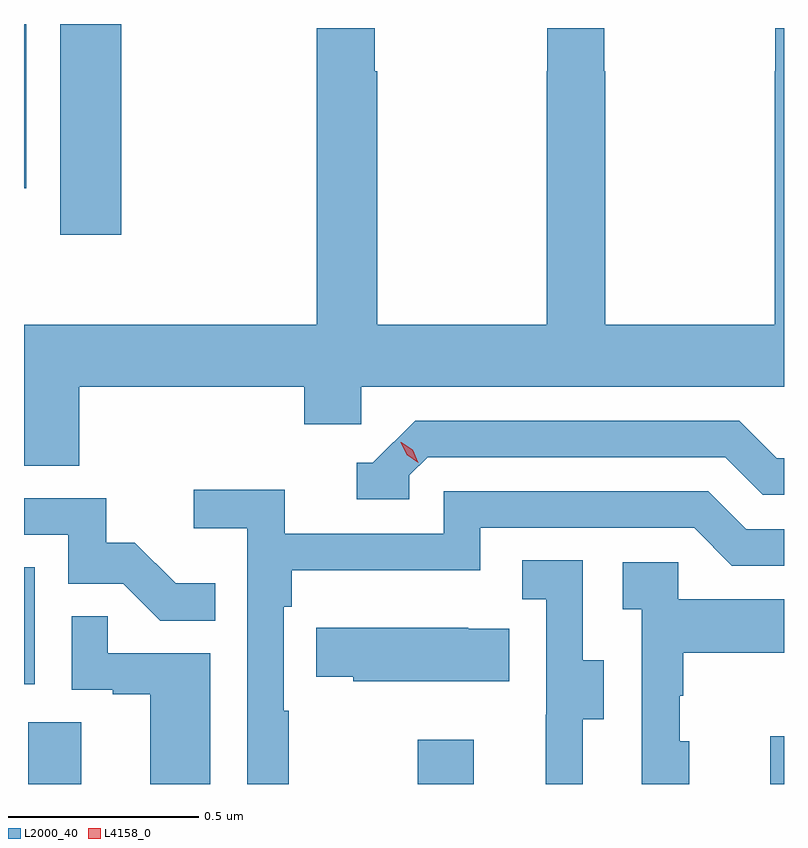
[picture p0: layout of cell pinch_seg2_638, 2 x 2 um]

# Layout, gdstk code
import gdstk
lib = gdstk.Library(unit=1e-6, precision=1e-09)
def R(c, l, rs):  # rectangles x0, y0, x1, y1
    for r in rs: c.add(gdstk.rectangle(r[:2], r[2:], *l))
def P(c, l, *ps):  # polygons
    for p in ps: c.add(gdstk.Polygon(p, *l))
L2000_40 = (2000, 40)
L4158_0 = (4158, 0)

pinch_seg2_638 = lib.new_cell('pinch_seg2_638')
R(pinch_seg2_638, L2000_40, [(1018.613,609.295,1018.753,609.458), (1019.638,609.295,1019.785,609.412), (1020.566,609.295,1020.602,609.421), (1018.602,609.558,1018.63,609.865), (1018.697,610.74,1018.858,611.295), (1018.602,610.863,1018.608,611.295)])
P(pinch_seg2_638, L2000_40, [(1018.748,610.34),(1019.339,610.34),(1019.339,610.242),(1019.49,610.242),(1019.49,610.34),(1020.602,610.34),(1020.602,611.284),(1020.579,611.284),(1020.579,611.171),(1020.577,611.171),(1020.577,610.504),(1020.132,610.504),(1020.132,611.171),(1020.129,611.171),(1020.129,611.284),(1019.979,611.284),(1019.979,611.171),(1019.977,611.171),(1019.977,610.504),(1019.532,610.504),(1019.532,611.171),(1019.525,611.171),(1019.525,611.284),(1019.372,611.284),(1019.372,610.504),(1018.602,610.504),(1018.602,610.132),(1018.748,610.132)],
  [(1019.616,610.107),(1019.664,610.155),(1020.447,610.155),(1020.546,610.056),(1020.602,610.056),(1020.602,610.152),(1020.583,610.152),(1020.484,610.251),(1019.631,610.251),(1019.52,610.14),(1019.477,610.14),(1019.477,610.044),(1019.616,610.044)],
  [(1019.299,609.488),(1019.286,609.488),(1019.286,609.761),(1019.306,609.761),(1019.306,609.857),(1019.802,609.857),(1019.802,609.969),(1020.366,609.969),(1020.465,609.87),(1020.602,609.87),(1020.602,609.966),(1020.502,609.966),(1020.403,610.065),(1019.706,610.065),(1019.706,609.954),(1019.288,609.954),(1019.288,610.07),(1019.049,610.07),(1019.049,609.968),(1019.19,609.968),(1019.19,609.295),(1019.299,609.295)],
  [(1019.105,609.823),(1019.001,609.823),(1018.894,609.93),(1018.818,609.93),(1018.818,610.047),(1018.602,610.047),(1018.602,609.951),(1018.719,609.951),(1018.719,609.822),(1018.863,609.822),(1018.961,609.724),(1019.105,609.724)],
  [(1020.073,609.466),(1020.127,609.466),(1020.127,609.621),(1020.072,609.621),(1020.072,609.884),(1019.913,609.884),(1019.913,609.781),(1019.976,609.781),(1019.976,609.477),(1019.975,609.477),(1019.975,609.295),(1020.073,609.295)],
  [(1020.352,609.408),(1020.327,609.408),(1020.327,609.527),(1020.337,609.527),(1020.337,609.641),(1020.602,609.641),(1020.602,609.781),(1020.324,609.781),(1020.324,609.879),(1020.177,609.879),(1020.177,609.755),(1020.228,609.755),(1020.228,609.295),(1020.352,609.295)],
  [(1019.092,609.639),(1018.823,609.639),(1018.823,609.737),(1018.728,609.737),(1018.728,609.543),(1018.835,609.543),(1018.835,609.531),(1018.934,609.531),(1018.934,609.295),(1019.092,609.295)],
  [(1019.879,609.703),(1019.771,609.703),(1019.771,609.706),(1019.371,609.706),(1019.371,609.577),(1019.469,609.577),(1019.469,609.566),(1019.879,609.566)])
P(pinch_seg2_638, L4158_0, [(1019.64,610.141),(1019.609,610.161),(1019.594,610.194),(1019.594,610.194),(1019.595,610.194),(1019.625,610.174),(1019.64,610.141),(1019.64,610.141)])

lib.write_gds('pinch_seg2_638.gds')
